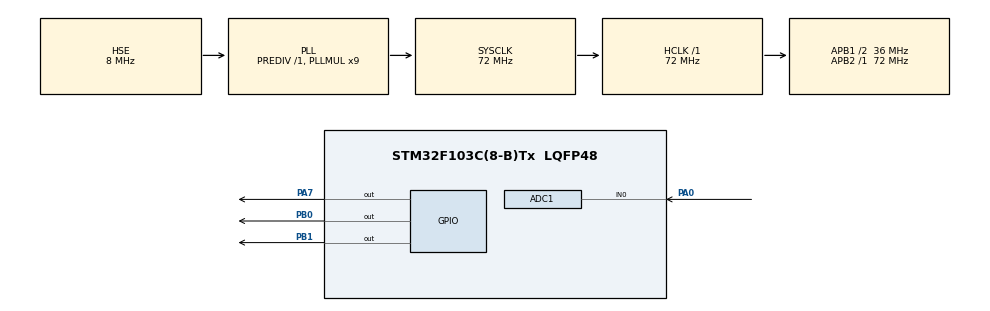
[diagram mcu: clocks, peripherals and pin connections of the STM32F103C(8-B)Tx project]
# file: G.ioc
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ADC1.Channel-0\#ChannelRegularConversion=ADC_CHANNEL_0
ADC1.ContinuousConvMode=ENABLE
ADC1.ExternalTrigConv=ADC_EXTERNALTRIGCONV_T3_TRGO
ADC1.NbrOfConversionFlag=1
ADC1.Rank-0\#ChannelRegularConversion=1
ADC1.SamplingTime-0\#ChannelRegularConversion=ADC_SAMPLETIME_239CYCLES_5
ADC1.master=1
Dma.ADC1.0.Direction=DMA_PERIPH_TO_MEMORY
Dma.ADC1.0.Instance=DMA1_Channel1
Dma.ADC1.0.MemDataAlignment=DMA_MDATAALIGN_WORD
Dma.ADC1.0.MemInc=DMA_MINC_ENABLE
Dma.ADC1.0.Mode=DMA_CIRCULAR
Dma.ADC1.0.PeriphDataAlignment=DMA_PDATAALIGN_WORD
Dma.ADC1.0.PeriphInc=DMA_PINC_DISABLE
Dma.ADC1.0.Priority=DMA_PRIORITY_LOW
Dma.Request0=ADC1
Mcu.Family=STM32F1
Mcu.Name=STM32F103C(8-B)Tx
Mcu.Package=LQFP48
NVIC.DMA1_Channel1_IRQn=true\:0\:0\:false\:false\:true\:false\:true\:true
NVIC.PriorityGroup=NVIC_PRIORITYGROUP_4
PA0-WKUP.Signal=ADCx_IN0
PA13.Mode=Serial_Wire
PA13.Signal=SYS_JTMS-SWDIO
PA14.Mode=Serial_Wire
PA14.Signal=SYS_JTCK-SWCLK
PA7.GPIO_PuPd=GPIO_PULLDOWN
PA7.GPIO_Speed=GPIO_SPEED_FREQ_HIGH
PA7.Signal=GPIO_Output
PB0.GPIO_ModeDefaultOutputPP=GPIO_MODE_OUTPUT_PP
PB0.GPIO_PuPd=GPIO_NOPULL
PB0.GPIO_Speed=GPIO_SPEED_FREQ_HIGH
PB0.PinState=GPIO_PIN_RESET
PB0.Signal=GPIO_Output
PB1.GPIO_ModeDefaultOutputPP=GPIO_MODE_OUTPUT_PP
PB1.GPIO_PuPd=GPIO_NOPULL
PB1.GPIO_Speed=GPIO_SPEED_FREQ_HIGH
PB1.PinState=GPIO_PIN_RESET
PB1.Signal=GPIO_Output
PD0-OSC_IN.Mode=HSE-External-Oscillator
PD0-OSC_IN.Signal=RCC_OSC_IN
PD1-OSC_OUT.Mode=HSE-External-Oscillator
PD1-OSC_OUT.Signal=RCC_OSC_OUT
ProjectManager.HeapSize=0x200
ProjectManager.StackSize=0x400
ProjectManager.TargetToolchain=MDK-ARM V5.32
RCC.ADCPresc=RCC_ADCPCLK2_DIV6
RCC.AHBFreq_Value=72000000
RCC.APB1CLKDivider=RCC_HCLK_DIV2
RCC.APB1Freq_Value=36000000
RCC.APB1TimFreq_Value=72000000
RCC.APB2Freq_Value=72000000
RCC.APB2TimFreq_Value=72000000
RCC.HCLKFreq_Value=72000000
RCC.PLLMUL=RCC_PLL_MUL9
RCC.PLLSourceVirtual=RCC_PLLSOURCE_HSE
RCC.SYSCLKFreq_VALUE=72000000
RCC.SYSCLKSource=RCC_SYSCLKSOURCE_PLLCLK
RCC.USBFreq_Value=72000000
SH.ADCx_IN0.0=ADC1_IN0,IN0
TIM3.Period=100-1
TIM3.Prescaler=7200-1
TIM3.TIM_MasterOutputTrigger=TIM_TRGO_UPDATE
VP_TIM3_VS_ClockSourceINT.Mode=Internal
board=custom

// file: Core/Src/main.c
/* USER CODE BEGIN Header */
/**
  ******************************************************************************
  * @file           : main.c
  * @brief          : Main program body
  ******************************************************************************
  * @attention
  *
  * Copyright (c) 2025 STMicroelectronics.
  * All rights reserved.
  *
  * This software is licensed under terms that can be found in the LICENSE file
  * in the root directory of this software component.
  * If no LICENSE file comes with this software, it is provided AS-IS.
  *
  ******************************************************************************
  */
/* USER CODE END Header */
#include "main.h"
#include "adc.h"
#include "dma.h"
#include "tim.h"
#include "gpio.h"

/* USER CODE BEGIN Includes */
#include "math.h"
#include <string.h>
#include <stdlib.h>
#include <stdio.h>
#include <oled.h>
/* USER CODE END Includes */

/* USER CODE BEGIN PV */
// DMA ADC 配置
#define ADC_BUFFER_SIZE 100  // DMA缓冲区大小，足够大以进行有效滤波
uint32_t adc_dma_buffer[ADC_BUFFER_SIZE]; // DMA目标缓冲区

// 滤波参数
#define TRIM_PERCENTAGE 20   // 修剪百分比（每边修剪10%，总共修剪20%）

//显示缓冲区
uint8_t oled[100] = {0};
/* USER CODE END PV */

void SystemClock_Config(void);
/* USER CODE BEGIN PFP */
uint32_t filter_adc_readings(uint32_t* buffer, uint32_t size);
int compare_uint32(const void *a, const void *b);
/* USER CODE END PFP */

int main(void)
{

  /* MCU Configuration--------------------------------------------------------*/

  /* Reset of all peripherals, Initializes the Flash interface and the Systick. */
  HAL_Init();

  /* Configure the system clock */
  SystemClock_Config();

  /* Initialize all configured peripherals */
  MX_GPIO_Init();
  MX_DMA_Init();
  MX_ADC1_Init();
  MX_TIM3_Init();
  /* USER CODE BEGIN 2 */
	OLED_Init();
	OLED_Clear();
	// 启动DMA传输，让ADC数据自动填充到adc_dma_buffer
	HAL_ADC_Start_DMA(&hadc1, (uint32_t*)adc_dma_buffer, ADC_BUFFER_SIZE);

	// 启动定时器6，它将周期性地触发ADC转换
	HAL_TIM_Base_Start(&htim3);

  /* USER CODE END 2 */

  /* Infinite loop */
  while (1)
  {

		/* USER CODE BEGIN 3 */
		// 调用高级滤波函数处理DMA缓冲区中的数据
		uint32_t filtered_adc_value = filter_adc_readings(adc_dma_buffer, ADC_BUFFER_SIZE);

		// 将ADC值转换为电压 (假设Vref+ = 3.3V)
		float filtered_voltage = (filtered_adc_value * 3.3f) / 4095.0f;

		// 根据你的电路计算电流 (例如: V = I * R -> I = V / R)
		const float R_SHUNT = 10.0f;
		float current_mA = (filtered_voltage / R_SHUNT) * 1000.0f;

		// 判断电流是否超过阈值
		if (current_mA >= 10.0f) {
				// 执行动作，例如点亮LED(PC13)
				HAL_GPIO_WritePin(GPIOA, GPIO_PIN_7, GPIO_PIN_SET);
		} else {
				HAL_GPIO_WritePin(GPIOA, GPIO_PIN_7, GPIO_PIN_RESET);
		}

		sprintf((char *)oled,"%.2fV     ",filtered_voltage);
		OLED_ShowString(0,0,oled,16,1);

		sprintf((char *)oled,"%.3fmA    ",current_mA);
		OLED_ShowString(0,16,oled,16,1);

		// 每次处理完等待一段时间，不需要太快
		HAL_Delay(500); // 每500ms输出一次结果
	}
  /* USER CODE END 3 */
}

void SystemClock_Config(void)
{
  RCC_OscInitTypeDef RCC_OscInitStruct = {0};
  RCC_ClkInitTypeDef RCC_ClkInitStruct = {0};
  RCC_PeriphCLKInitTypeDef PeriphClkInit = {0};

  /** Initializes the RCC Oscillators according to the specified parameters
  * in the RCC_OscInitTypeDef structure.
  */
  RCC_OscInitStruct.OscillatorType = RCC_OSCILLATORTYPE_HSE;
  RCC_OscInitStruct.HSEState = RCC_HSE_ON;
  RCC_OscInitStruct.HSEPredivValue = RCC_HSE_PREDIV_DIV1;
  RCC_OscInitStruct.HSIState = RCC_HSI_ON;
  RCC_OscInitStruct.PLL.PLLState = RCC_PLL_ON;
  RCC_OscInitStruct.PLL.PLLSource = RCC_PLLSOURCE_HSE;
  RCC_OscInitStruct.PLL.PLLMUL = RCC_PLL_MUL9;
  if (HAL_RCC_OscConfig(&RCC_OscInitStruct) != HAL_OK)
  {
    Error_Handler();
  }

  /** Initializes the CPU, AHB and APB buses clocks
  */
  RCC_ClkInitStruct.ClockType = RCC_CLOCKTYPE_HCLK|RCC_CLOCKTYPE_SYSCLK
                              |RCC_CLOCKTYPE_PCLK1|RCC_CLOCKTYPE_PCLK2;
  RCC_ClkInitStruct.SYSCLKSource = RCC_SYSCLKSOURCE_PLLCLK;
  RCC_ClkInitStruct.AHBCLKDivider = RCC_SYSCLK_DIV1;
  RCC_ClkInitStruct.APB1CLKDivider = RCC_HCLK_DIV2;
  RCC_ClkInitStruct.APB2CLKDivider = RCC_HCLK_DIV1;

  if (HAL_RCC_ClockConfig(&RCC_ClkInitStruct, FLASH_LATENCY_2) != HAL_OK)
  {
    Error_Handler();
  }
  PeriphClkInit.PeriphClockSelection = RCC_PERIPHCLK_ADC;
  PeriphClkInit.AdcClockSelection = RCC_ADCPCLK2_DIV6;
  if (HAL_RCCEx_PeriphCLKConfig(&PeriphClkInit) != HAL_OK)
  {
    Error_Handler();
  }
}

/* USER CODE BEGIN 4 */
// qsort所需的比较函数
int compare_uint32(const void *a, const void *b) {
  uint32_t arg1 = *((uint32_t*)a);
  uint32_t arg2 = *((uint32_t*)b);
  if (arg1 < arg2) return -1;
  if (arg1 > arg2) return 1;
  return 0;
}
// 高级组合滤波函数：中值滤波（去极值） + 均值滤波
uint32_t filter_adc_readings(uint32_t* buffer, uint32_t size)
{
	// 1. 创建临时缓冲区并拷贝数据，避免破坏DMA原始数据
	uint32_t temp_buffer[ADC_BUFFER_SIZE];
	memcpy(temp_buffer, buffer, size * sizeof(uint32_t));

	// 2. 对临时缓冲区进行排序（中值滤波的第一步）
	qsort(temp_buffer, size, sizeof(uint32_t), compare_uint32);

	// 3. 计算需要修剪掉的样本数量（例如，修剪掉最高和最低的10%）
	uint32_t samples_to_trim = (size * TRIM_PERCENTAGE) / 100;
	uint32_t start_index = samples_to_trim / 2;      // 开始的索引（修剪掉低端）
	uint32_t end_index = size - (samples_to_trim / 2); // 结束的索引（修剪掉高端）
	uint32_t valid_sample_count = end_index - start_index;

	// 4. 对修剪后剩余的“有效”样本求平均值
	uint64_t sum = 0;
	for (uint32_t i = start_index; i < end_index; i++) {
			sum += temp_buffer[i];
	}

	// 5. 返回平均值
	return (uint32_t)(sum / valid_sample_count);
}
/* USER CODE END 4 */

void Error_Handler(void)
{
  __disable_irq();
  while (1)
  {
  }
}
